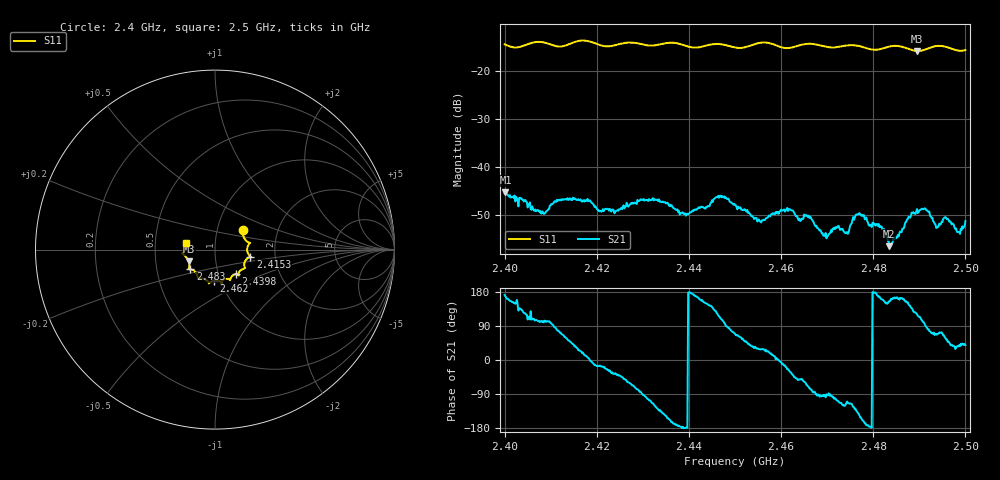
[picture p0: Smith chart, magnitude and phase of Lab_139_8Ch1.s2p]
# Hz S RI R 50
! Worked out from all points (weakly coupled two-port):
!   601 points, 2.4 GHz to 2.5 GHz, reference 50 ohm
!   highest |S21| = -45.26 dB at 2.4002 GHz (marker M1); lowest = -56.5 dB at 2.4835 GHz (marker M2)
!   lowest |S11| = -15.9 dB at 2.4895 GHz (marker M3), VSWR 1.38, Z = 36.9 - j4.99 ohm
!   |S11| at or under -10 dB: start of sweep to end of sweep
!   S12 and S22 are empty: the file has one direction only
!   S11 on the Smith chart (normalised r, x): 2.4 GHz: 1.33, +0.29; 2.4153 GHz: 1.48, -0.12; 2.4398 GHz: 1.21, -0.34; 2.462 GHz: 0.93, -0.33; 2.483 GHz: 0.74, -0.17; 2.5 GHz: 0.72, +0.06
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2.4e9  0.1555 0.1067  -0.00528 0.000795  0 0  0 0
2.400167e9  0.1552 0.1043  -0.00533 0.00116  0 0  0 0
2.408333e9  0.1947 0.0365  -0.000702 0.00331  0 0  0 0
2.415333e9  0.1965 -0.0387  0.00373 0.00275  0 0  0 0
2.416667e9  0.2021 -0.0429  0.00408 0.00165  0 0  0 0
2.424167e9  0.1629 -0.0889  0.0028 -0.00209  0 0  0 0
2.433333e9  0.1311 -0.1334  -0.00287 -0.00335  0 0  0 0
2.439833e9  0.1154 -0.1366  -0.00322 0.000107  0 0  0 0
2.446333e9  0.0847 -0.1702  -0.0024 0.00439  0 0  0 0
2.45e9  0.0647 -0.1627  0.00143 0.00377  0 0  0 0
2.455333e9  0.0368 -0.1916  0.0024 0.0013  0 0  0 0
2.462e9  -0.00512 -0.1732  0.00308 -0.00192  0 0  0 0
2.466667e9  -0.0344 -0.1877  0.000534 -0.0028  0 0  0 0
2.469667e9  -0.0449 -0.1726  -0.000305 -0.00204  0 0  0 0
2.474333e9  -0.0894 -0.1605  -0.000705 -0.00198  0 0  0 0
2.477167e9  -0.0967 -0.152  -0.00286 -0.00156  0 0  0 0
2.483e9  -0.1377 -0.1095  -0.00159 0.00098  0 0  0 0
2.483333e9  -0.1403 -0.1092  -0.00155 0.000738  0 0  0 0
2.4835e9  -0.1414 -0.1091  -0.00136 0.000646  0 0  0 0
2.4895e9  -0.1466 -0.0658  -0.00186 0.00315  0 0  0 0
2.498333e9  -0.1622 0.0106  0.00169 0.00126  0 0  0 0
2.5e9  -0.1596 0.0392  0.00212 0.00173  0 0  0 0
